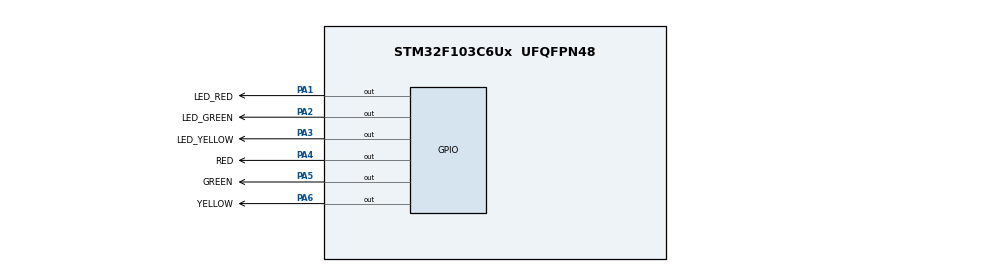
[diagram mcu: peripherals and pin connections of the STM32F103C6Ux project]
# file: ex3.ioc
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Mcu.Family=STM32F1
Mcu.Name=STM32F103C6Ux
Mcu.Package=UFQFPN48
NVIC.PriorityGroup=NVIC_PRIORITYGROUP_4
PA1.GPIO_Label=LED_RED
PA1.Signal=GPIO_Output
PA2.GPIO_Label=LED_GREEN
PA2.Signal=GPIO_Output
PA3.GPIO_Label=LED_YELLOW
PA3.Signal=GPIO_Output
PA4.GPIO_Label=RED
PA4.Signal=GPIO_Output
PA5.GPIO_Label=GREEN
PA5.Signal=GPIO_Output
PA6.GPIO_Label=YELLOW
PA6.Signal=GPIO_Output
ProjectManager.HeapSize=0x200
ProjectManager.StackSize=0x400
ProjectManager.TargetToolchain=STM32CubeIDE
RCC.APB1Freq_Value=8000000
RCC.APB2Freq_Value=8000000
VP_SYS_VS_ND.Mode=No_Debug
board=custom

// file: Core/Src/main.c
/* USER CODE BEGIN Header */
/**
  ******************************************************************************
  * @file           : main.c
  * @brief          : Main program body
  ******************************************************************************
  * @attention
  *
  * <h2><center>&copy; Copyright (c) 2022 STMicroelectronics.
  * All rights reserved.</center></h2>
  *
  * This software component is licensed by ST under BSD 3-Clause license,
  * the "License"; You may not use this file except in compliance with the
  * License. You may obtain a copy of the License at:
  *                        opensource.org/licenses/BSD-3-Clause
  *
  ******************************************************************************
  */
/* USER CODE END Header */
#include "main.h"

void SystemClock_Config(void);
static void MX_GPIO_Init(void);

#define RED 0
#define GREEN 1
#define YELLOW 2

int main(void)
{

  /* MCU Configuration--------------------------------------------------------*/

  /* Reset of all peripherals, Initializes the Flash interface and the Systick. */
  HAL_Init();

  /* Configure the system clock */
  SystemClock_Config();

  /* Initialize all configured peripherals */
  MX_GPIO_Init();

  /* Infinite loop */
  /* USER CODE BEGIN WHILE */
  int count_1 = 500;
  int count_2 = 300;
  int light_1 = RED;
  int light_2 = GREEN;
  while (1)
  {
	  if(light_1 == RED){
	  	 HAL_GPIO_WritePin(GPIOA, LED_RED_Pin, 0);
	  	 HAL_GPIO_WritePin(GPIOA, LED_YELLOW_Pin, 1);
	  	 HAL_GPIO_WritePin(GPIOA, LED_GREEN_Pin, 1);
	  	 if(count_1 > 0) count_1--;
	  	 else if (count_1 == 0)
	  	 {
	  	     count_1 = 300;
	  	     light_1 = GREEN;
	  	 }
	  }
	  else if(light_1 == YELLOW)
	  {
	  	  HAL_GPIO_WritePin(GPIOA, LED_RED_Pin, 1);
	  	  HAL_GPIO_WritePin(GPIOA, LED_YELLOW_Pin, 0);
	  	  HAL_GPIO_WritePin(GPIOA, LED_GREEN_Pin, 1);
	  	  if(count_1 > 0) count_1--;
	  	  else if (count_1 == 0)
	  	  {
	  	     count_1 = 500;
	  	     light_1 = RED;
	  	  }
	  }
	  else if(light_1 == GREEN)
	  {
	  	  HAL_GPIO_WritePin(GPIOA, LED_RED_Pin, 1);
	  	  HAL_GPIO_WritePin(GPIOA, LED_YELLOW_Pin, 1);
	  	  HAL_GPIO_WritePin(GPIOA, LED_GREEN_Pin, 0);
	  	  if(count_1 > 0) count_1--;
	  	  else if (count_1 == 0)
	  	  {
	  	     count_1 = 200;
	  	     light_1 = YELLOW;
	  	  }
	  }
	  if(light_2 == RED)
	  {
	  	  HAL_GPIO_WritePin(GPIOA, RED_Pin, 0);
	  	  HAL_GPIO_WritePin(GPIOA, YELLOW_Pin, 1);
	  	  HAL_GPIO_WritePin(GPIOA, GREEN_Pin, 1);
	  	  if(count_2 > 0) count_2--;
	  	  else if (count_2 == 0)
	  	  {
	  	     count_2 = 300;
	  	     light_2 = GREEN;
	  	  }
	  }
	  else if(light_2 == YELLOW)
	  {
	  	  HAL_GPIO_WritePin(GPIOA, RED_Pin, 1);
	  	  HAL_GPIO_WritePin(GPIOA, YELLOW_Pin, 0);
	  	  HAL_GPIO_WritePin(GPIOA, GREEN_Pin, 1);
	  	  if(count_2 > 0) count_2--;
	  	  else if (count_2 == 0)
	  	  {
	  		  count_2 = 500;
	  		  light_2 = RED;
	  	  }
	  }
	  else if(light_2 == GREEN)
	  {
		  HAL_GPIO_WritePin(GPIOA, RED_Pin, 1);
	  	  HAL_GPIO_WritePin(GPIOA, YELLOW_Pin, 1);
	  	  HAL_GPIO_WritePin(GPIOA, GREEN_Pin, 0);
	  	  if(count_2 > 0) count_2--;
	  	  else if (count_2 == 0)
	  	  {
	  	     count_2 = 200;
	  	     light_2 = YELLOW;
	  	  }
	  }
	  HAL_Delay(10);
    /* USER CODE END WHILE */

  }
}

void SystemClock_Config(void)
{
  RCC_OscInitTypeDef RCC_OscInitStruct = {0};
  RCC_ClkInitTypeDef RCC_ClkInitStruct = {0};

  /** Initializes the RCC Oscillators according to the specified parameters
  * in the RCC_OscInitTypeDef structure.
  */
  RCC_OscInitStruct.OscillatorType = RCC_OSCILLATORTYPE_HSI;
  RCC_OscInitStruct.HSIState = RCC_HSI_ON;
  RCC_OscInitStruct.HSICalibrationValue = RCC_HSICALIBRATION_DEFAULT;
  RCC_OscInitStruct.PLL.PLLState = RCC_PLL_NONE;
  if (HAL_RCC_OscConfig(&RCC_OscInitStruct) != HAL_OK)
  {
    Error_Handler();
  }
  /** Initializes the CPU, AHB and APB buses clocks
  */
  RCC_ClkInitStruct.ClockType = RCC_CLOCKTYPE_HCLK|RCC_CLOCKTYPE_SYSCLK
                              |RCC_CLOCKTYPE_PCLK1|RCC_CLOCKTYPE_PCLK2;
  RCC_ClkInitStruct.SYSCLKSource = RCC_SYSCLKSOURCE_HSI;
  RCC_ClkInitStruct.AHBCLKDivider = RCC_SYSCLK_DIV1;
  RCC_ClkInitStruct.APB1CLKDivider = RCC_HCLK_DIV1;
  RCC_ClkInitStruct.APB2CLKDivider = RCC_HCLK_DIV1;

  if (HAL_RCC_ClockConfig(&RCC_ClkInitStruct, FLASH_LATENCY_0) != HAL_OK)
  {
    Error_Handler();
  }
}

static void MX_GPIO_Init(void)
{
  GPIO_InitTypeDef GPIO_InitStruct = {0};

  /* GPIO Ports Clock Enable */
  __HAL_RCC_GPIOA_CLK_ENABLE();

  /*Configure GPIO pin Output Level */
  HAL_GPIO_WritePin(GPIOA, LED_RED_Pin|LED_GREEN_Pin|LED_YELLOW_Pin|RED_Pin
                          |GREEN_Pin|YELLOW_Pin, GPIO_PIN_RESET);

  /*Configure GPIO pins : LED_RED_Pin LED_GREEN_Pin LED_YELLOW_Pin RED_Pin
                           GREEN_Pin YELLOW_Pin */
  GPIO_InitStruct.Pin = LED_RED_Pin|LED_GREEN_Pin|LED_YELLOW_Pin|RED_Pin
                          |GREEN_Pin|YELLOW_Pin;
  GPIO_InitStruct.Mode = GPIO_MODE_OUTPUT_PP;
  GPIO_InitStruct.Pull = GPIO_NOPULL;
  GPIO_InitStruct.Speed = GPIO_SPEED_FREQ_LOW;
  HAL_GPIO_Init(GPIOA, &GPIO_InitStruct);

}

void Error_Handler(void)
{
  __disable_irq();
  while (1)
  {
  }
}

/************************ (C) COPYRIGHT STMicroelectronics *****END OF FILE****/
